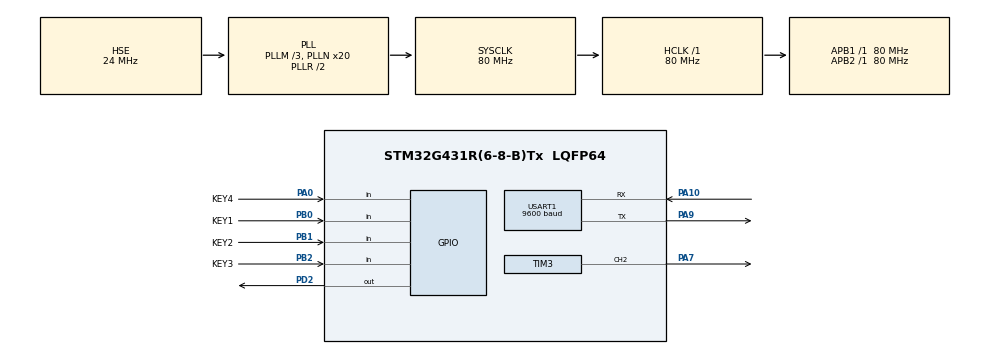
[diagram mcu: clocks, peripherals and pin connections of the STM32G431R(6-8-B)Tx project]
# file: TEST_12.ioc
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Dma.Request0=USART1_RX
Dma.USART1_RX.0.Direction=DMA_PERIPH_TO_MEMORY
Dma.USART1_RX.0.EventEnable=DISABLE
Dma.USART1_RX.0.Instance=DMA1_Channel1
Dma.USART1_RX.0.MemDataAlignment=DMA_MDATAALIGN_BYTE
Dma.USART1_RX.0.MemInc=DMA_MINC_ENABLE
Dma.USART1_RX.0.Mode=DMA_CIRCULAR
Dma.USART1_RX.0.PeriphDataAlignment=DMA_PDATAALIGN_BYTE
Dma.USART1_RX.0.PeriphInc=DMA_PINC_DISABLE
Dma.USART1_RX.0.Polarity=HAL_DMAMUX_REQ_GEN_RISING
Dma.USART1_RX.0.Priority=DMA_PRIORITY_LOW
Dma.USART1_RX.0.RequestNumber=1
Dma.USART1_RX.0.SignalID=NONE
Dma.USART1_RX.0.SyncEnable=DISABLE
Dma.USART1_RX.0.SyncPolarity=HAL_DMAMUX_SYNC_NO_EVENT
Dma.USART1_RX.0.SyncRequestNumber=1
Dma.USART1_RX.0.SyncSignalID=NONE
Mcu.Family=STM32G4
Mcu.Name=STM32G431R(6-8-B)Tx
Mcu.Package=LQFP64
NVIC.PriorityGroup=NVIC_PRIORITYGROUP_4
NVIC.USART1_IRQn=true\:0\:0\:false\:false\:true\:true\:true
PA0.GPIO_Label=KEY4
PA0.Signal=GPIO_Input
PA10.Mode=Asynchronous
PA10.Signal=USART1_RX
PA13.Mode=Serial_Wire
PA13.Signal=SYS_JTMS-SWDIO
PA14.Mode=Serial_Wire
PA14.Signal=SYS_JTCK-SWCLK
PA7.Signal=S_TIM3_CH2
PA9.Mode=Asynchronous
PA9.Signal=USART1_TX
PB0.GPIO_Label=KEY1
PB0.Signal=GPIO_Input
PB1.GPIO_Label=KEY2
PB1.Signal=GPIO_Input
PB2.GPIO_Label=KEY3
PB2.Signal=GPIO_Input
PD2.Signal=GPIO_Output
PF0-OSC_IN.Mode=HSE-External-Oscillator
PF0-OSC_IN.Signal=RCC_OSC_IN
PF1-OSC_OUT.Mode=HSE-External-Oscillator
PF1-OSC_OUT.Signal=RCC_OSC_OUT
ProjectManager.HeapSize=0x200
ProjectManager.StackSize=0x400
ProjectManager.TargetToolchain=MDK-ARM V5
RCC.ADC12Freq_Value=80000000
RCC.AHBFreq_Value=80000000
RCC.APB1Freq_Value=80000000
RCC.APB1TimFreq_Value=80000000
RCC.APB2Freq_Value=80000000
RCC.APB2TimFreq_Value=80000000
RCC.CortexFreq_Value=80000000
RCC.EXTERNAL_CLOCK_VALUE=12288000
RCC.HCLKFreq_Value=80000000
RCC.HSE_VALUE=24000000
RCC.HSI48_VALUE=48000000
RCC.HSI_VALUE=16000000
RCC.LSE_VALUE=32768
RCC.PLLM=RCC_PLLM_DIV3
RCC.PLLN=20
RCC.PLLSourceVirtual=RCC_PLLSOURCE_HSE
RCC.SYSCLKFreq_VALUE=80000000
RCC.SYSCLKSource=RCC_SYSCLKSOURCE_PLLCLK
RCC.USBFreq_Value=80000000
RCC.VCOOutputFreq_Value=160000000
SH.S_TIM3_CH2.0=TIM3_CH2,PWM Generation2 CH2
TIM3.Channel-PWM\ Generation2\ CH2=TIM_CHANNEL_2
TIM3.PeriodNoDither=499
TIM3.Prescaler=79
TIM3.PulseNoDither_2=20
USART1.BaudRate=9600
USART1.VirtualMode-Asynchronous=VM_ASYNC
VP_SYS_VS_DBSignals.Mode=DisableDeadBatterySignals
VP_TIM3_VS_ClockSourceINT.Mode=Internal
board=custom

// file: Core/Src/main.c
/* USER CODE BEGIN Header */
/**
  ******************************************************************************
  * @file           : main.c
  * @brief          : Main program body
  ******************************************************************************
  * @attention
  *
  * Copyright (c) 2022 STMicroelectronics.
  * All rights reserved.
  *
  * This software is licensed under terms that can be found in the LICENSE file
  * in the root directory of this software component.
  * If no LICENSE file comes with this software, it is provided AS-IS.
  *
  ******************************************************************************
  */
/* USER CODE END Header */
#include "main.h"
#include "dma.h"
#include "tim.h"
#include "usart.h"
#include "gpio.h"

/* USER CODE BEGIN Includes */
#include	"lcd.h"
#include	 "CarList.h"
#include	<stdio.h>
#include	<stdlib.h>
#include  <string.h>

/* USER CODE END Includes */

/* USER CODE BEGIN PD */
#define	DATA_SHOW	0
#define	PARA_SHOW	1

#define PWM_OFF		0
#define PWM_ON		1
/* USER CODE END PD */

/* USER CODE BEGIN PV */
uint8_t UartRxBuffer[RX_BUFFER_LEN];

u8 CNBR_Count_Buff[20];
u8 VNBR_Count_Buff[20];
u8 IDLE_Count_Buff[20];

u8 CNBR_Price_Buff[20];
u8 VNBR_Price_Buff[20];

float		CNBR_Price=3.50;		//CNBR每小时停车价格
float		VNBR_Price=2.00;		//VNBR每小时停车价格

CarListTypedef		CarList={0};
CarMessageTypedef	NewCar;

int LED_State=0xffff;

uint8_t PWM_State=PWM_ON;

uint8_t	LCD_STATE =DATA_SHOW; //上电初始数据界面
/* USER CODE END PV */

void SystemClock_Config(void);
/* USER CODE BEGIN PFP */
void LED_Display(int led_state);
void LCD_Show(void);
void KeyScan(void);
/* USER CODE END PFP */

int main(void)
{

  /* MCU Configuration--------------------------------------------------------*/

  /* Reset of all peripherals, Initializes the Flash interface and the Systick. */
  HAL_Init();

  /* Configure the system clock */
  SystemClock_Config();

  /* Initialize all configured peripherals */
  MX_GPIO_Init();
  MX_DMA_Init();
  MX_USART1_UART_Init();
  MX_TIM3_Init();
  /* USER CODE BEGIN 2 */

	__HAL_UART_ENABLE_IT(&huart1,UART_IT_IDLE);
	HAL_UART_Receive_DMA(&huart1,UartRxBuffer,RX_BUFFER_LEN);

	HAL_TIM_PWM_Start(&htim3,TIM_CHANNEL_2);
	__HAL_TIM_SetCompare(&htim3,TIM_CHANNEL_2,100); //20%占空比方波

	LCD_Init();
	LCD_Clear(Black);
	LCD_SetBackColor(Black);
	LCD_SetTextColor(White);
	LED_Display(LED_State);

  /* USER CODE END 2 */

  /* Infinite loop */
  while (1)
  {

    /* USER CODE BEGIN 3 */
		LCD_Show();
		LED_Display(LED_State);
		if((MAX_SIZE-CarList.Length)>0)
		{
			LED_State&=0XFEFF;
		}
		else
		{
			LED_State|=0X0100;
		}

  }
  /* USER CODE END 3 */
}

void SystemClock_Config(void)
{
  RCC_OscInitTypeDef RCC_OscInitStruct = {0};
  RCC_ClkInitTypeDef RCC_ClkInitStruct = {0};

  /** Configure the main internal regulator output voltage
  */
  HAL_PWREx_ControlVoltageScaling(PWR_REGULATOR_VOLTAGE_SCALE1);
  /** Initializes the RCC Oscillators according to the specified parameters
  * in the RCC_OscInitTypeDef structure.
  */
  RCC_OscInitStruct.OscillatorType = RCC_OSCILLATORTYPE_HSE;
  RCC_OscInitStruct.HSEState = RCC_HSE_ON;
  RCC_OscInitStruct.PLL.PLLState = RCC_PLL_ON;
  RCC_OscInitStruct.PLL.PLLSource = RCC_PLLSOURCE_HSE;
  RCC_OscInitStruct.PLL.PLLM = RCC_PLLM_DIV3;
  RCC_OscInitStruct.PLL.PLLN = 20;
  RCC_OscInitStruct.PLL.PLLP = RCC_PLLP_DIV2;
  RCC_OscInitStruct.PLL.PLLQ = RCC_PLLQ_DIV2;
  RCC_OscInitStruct.PLL.PLLR = RCC_PLLR_DIV2;
  if (HAL_RCC_OscConfig(&RCC_OscInitStruct) != HAL_OK)
  {
    Error_Handler();
  }
  /** Initializes the CPU, AHB and APB buses clocks
  */
  RCC_ClkInitStruct.ClockType = RCC_CLOCKTYPE_HCLK|RCC_CLOCKTYPE_SYSCLK
                              |RCC_CLOCKTYPE_PCLK1|RCC_CLOCKTYPE_PCLK2;
  RCC_ClkInitStruct.SYSCLKSource = RCC_SYSCLKSOURCE_PLLCLK;
  RCC_ClkInitStruct.AHBCLKDivider = RCC_SYSCLK_DIV1;
  RCC_ClkInitStruct.APB1CLKDivider = RCC_HCLK_DIV1;
  RCC_ClkInitStruct.APB2CLKDivider = RCC_HCLK_DIV1;

  if (HAL_RCC_ClockConfig(&RCC_ClkInitStruct, FLASH_LATENCY_2) != HAL_OK)
  {
    Error_Handler();
  }
}

/* USER CODE BEGIN 4 */
void LED_Display(int led_state)
{
	HAL_GPIO_WritePin(GPIOD,GPIO_PIN_2,GPIO_PIN_SET);
	GPIOC->ODR=led_state;
	HAL_GPIO_WritePin(GPIOD,GPIO_PIN_2,GPIO_PIN_RESET);
}

void LCD_Show(void)
{
	if(LCD_STATE==DATA_SHOW)
	{
		sprintf((char*)CNBR_Count_Buff,"   CNBR: %d          ",CarList.CNBR_Count);
		sprintf((char*)VNBR_Count_Buff,"   VNBR: %d          ",CarList.VNBR_Count);
		sprintf((char*)IDLE_Count_Buff,"   IDLE: %d          ",(MAX_SIZE-CarList.Length));
		LCD_DisplayStringLine(Line1,(u8*)"        Data        ");
		LCD_DisplayStringLine(Line3,CNBR_Count_Buff);
		LCD_DisplayStringLine(Line5,VNBR_Count_Buff);
		LCD_DisplayStringLine(Line7,IDLE_Count_Buff);
	}
	else if(LCD_STATE==PARA_SHOW)
	{
		LCD_DisplayStringLine(Line1,(u8*)"        Para        ");
		sprintf((char*)CNBR_Price_Buff,"   CNBR: %.2f    ",CNBR_Price);
		sprintf((char*)VNBR_Price_Buff,"   VNBR: %.2f    ",VNBR_Price);
		LCD_DisplayStringLine(Line3,CNBR_Price_Buff);
		LCD_DisplayStringLine(Line5,VNBR_Price_Buff);
		LCD_DisplayStringLine(Line7,(u8*)"                    ");
	}
}

void KeyScan(void)
{
	if(HAL_GPIO_ReadPin(KEY1_GPIO_Port,KEY1_Pin)==0&&LCD_STATE==DATA_SHOW)
	{
		LCD_Clear(Black);
		LCD_STATE=PARA_SHOW;
		while(HAL_GPIO_ReadPin(KEY1_GPIO_Port,KEY1_Pin)==0);
	}
	else if(HAL_GPIO_ReadPin(KEY1_GPIO_Port,KEY1_Pin)==0&LCD_STATE==PARA_SHOW)
	{
		LCD_Clear(Black);
		LCD_STATE=DATA_SHOW;
		while(HAL_GPIO_ReadPin(KEY1_GPIO_Port,KEY1_Pin)==0);
	}

	if(HAL_GPIO_ReadPin(KEY2_GPIO_Port,KEY2_Pin)==0&&LCD_STATE==PARA_SHOW)
	{
		CNBR_Price+=0.50;
		VNBR_Price+=0.50;
		while(HAL_GPIO_ReadPin(KEY2_GPIO_Port,KEY2_Pin)==0);
	}

	if(HAL_GPIO_ReadPin(KEY3_GPIO_Port,KEY3_Pin)==0&&LCD_STATE==PARA_SHOW)
	{
		if(CNBR_Price>=0.50&&VNBR_Price>=0.50)
		{
			CNBR_Price-=0.50;
			VNBR_Price-=0.50;
		}
		else
		{
			CNBR_Price=CNBR_Price;
			VNBR_Price=VNBR_Price;
		}

		while(HAL_GPIO_ReadPin(KEY3_GPIO_Port,KEY3_Pin)==0);
	}
	if(HAL_GPIO_ReadPin(KEY4_GPIO_Port,KEY4_Pin)==0&&PWM_State==PWM_OFF)
	{
		PWM_State=PWM_ON;
		__HAL_TIM_SetCompare(&htim3,TIM_CHANNEL_2,100); //20%占空比方波
		while(HAL_GPIO_ReadPin(KEY4_GPIO_Port,KEY4_Pin)==0);
	}
	else if(HAL_GPIO_ReadPin(KEY4_GPIO_Port,KEY4_Pin)==0&&PWM_State==PWM_ON)
	{
		PWM_State=PWM_OFF;
		__HAL_TIM_SetCompare(&htim3,TIM_CHANNEL_2,0); //低电平
		while(HAL_GPIO_ReadPin(KEY4_GPIO_Port,KEY4_Pin)==0);
	}
}

void HAL_SYSTICK_Callback()
{
	static int key_time;
	key_time++;
	if(key_time==50)
	{
		key_time=0;
		KeyScan();
	}
}
/* USER CODE END 4 */

void Error_Handler(void)
{
  __disable_irq();
  while (1)
  {
  }
}
